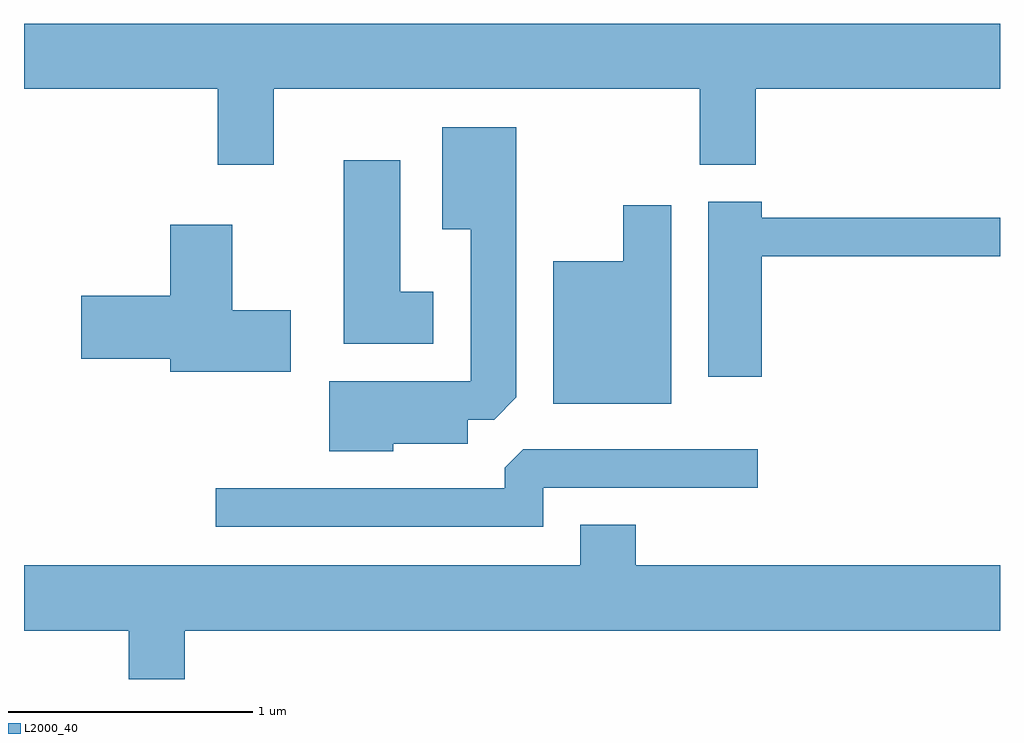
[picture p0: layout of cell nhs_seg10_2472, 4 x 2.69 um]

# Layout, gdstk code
import gdstk
lib = gdstk.Library(unit=1e-6, precision=1e-09)
def P(c, l, *ps):  # polygons
    for p in ps: c.add(gdstk.Polygon(p, *l))
L2000_40 = (2000, 40)

nhs_seg10_2472 = lib.new_cell('nhs_seg10_2472')
P(nhs_seg10_2472, L2000_40, [(258.634,2144.996),(260.381,2144.996),(260.381,2144.686),(260.609,2144.686),(260.609,2144.996),(261.611,2144.996),(261.611,2145.264),(257.611,2145.264),(257.611,2144.996),(258.406,2144.996),(258.406,2144.686),(258.634,2144.686)],
  [(259.124,2143.541),(259.429,2143.541),(259.429,2143.641),(259.539,2143.641),(259.629,2143.732),(259.629,2144.839),(259.326,2144.839),(259.326,2144.421),(259.441,2144.421),(259.441,2143.799),(258.861,2143.799),(258.861,2143.511),(259.124,2143.511)],
  [(259.289,2144.164),(259.154,2144.164),(259.154,2144.704),(258.921,2144.704),(258.921,2143.951),(259.289,2143.951)],
  [(260.634,2144.311),(261.611,2144.311),(261.611,2144.469),(260.634,2144.469),(260.634,2144.534),(260.416,2144.534),(260.416,2143.816),(260.634,2143.816)],
  [(260.264,2144.519),(260.066,2144.519),(260.066,2144.289),(259.781,2144.289),(259.781,2143.706),(260.264,2143.706)],
  [(258.704,2144.089),(258.464,2144.089),(258.464,2144.439),(258.211,2144.439),(258.211,2144.149),(257.846,2144.149),(257.846,2143.891),(258.211,2143.891),(258.211,2143.836),(258.704,2143.836)],
  [(259.739,2143.361),(260.618,2143.361),(260.618,2143.519),(259.657,2143.519),(259.581,2143.444),(259.581,2143.359),(258.397,2143.359),(258.397,2143.201),(259.739,2143.201)],
  [(258.269,2142.776),(261.611,2142.776),(261.611,2143.044),(260.119,2143.044),(260.119,2143.209),(259.891,2143.209),(259.891,2143.044),(257.611,2143.044),(257.611,2142.776),(258.041,2142.776),(258.041,2142.576),(258.269,2142.576)])

lib.write_gds('nhs_seg10_2472.gds')
